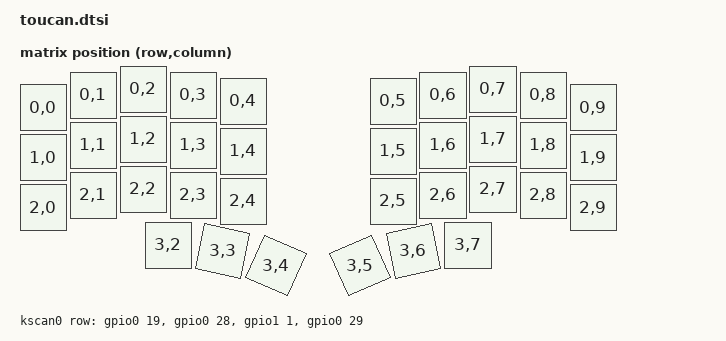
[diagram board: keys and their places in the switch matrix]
#include <input/processors.dtsi>
#include <dt-bindings/zmk/input_transform.h>
#include <dt-bindings/zmk/matrix_transform.h>
#include <physical_layouts.dtsi>

/ {
    chosen {
        zmk,kscan = &kscan0;
        zmk,physical-layout = &default_layout;
    };

    kscan0: kscan_0 {
        compatible = "zmk,kscan-gpio-matrix";
        diode-direction = "col2row";
        wakeup-source;

        row-gpios
            = <&gpio0 19 (GPIO_ACTIVE_HIGH | GPIO_PULL_DOWN)>
            , <&gpio0 28 (GPIO_ACTIVE_HIGH | GPIO_PULL_DOWN)>
            , <&gpio1 1 (GPIO_ACTIVE_HIGH | GPIO_PULL_DOWN)>
            , <&gpio0 29 (GPIO_ACTIVE_HIGH | GPIO_PULL_DOWN)>;
    };

    default_layout: default_layout {
        compatible = "zmk,physical-layout";
        display-name = "Default Layout";
        transform = <&default_transform>;

        keys
            = <&key_physical_attrs 100 100    0   37       0     0     0>
            , <&key_physical_attrs 100 100  100   12       0     0     0>
            , <&key_physical_attrs 100 100  200    0       0     0     0>
            , <&key_physical_attrs 100 100  300   12       0     0     0>
            , <&key_physical_attrs 100 100  400   24       0     0     0>
            , <&key_physical_attrs 100 100  700   24       0     0     0>
            , <&key_physical_attrs 100 100  800   12       0     0     0>
            , <&key_physical_attrs 100 100  900    0       0     0     0>
            , <&key_physical_attrs 100 100 1000   12       0     0     0>
            , <&key_physical_attrs 100 100 1100   37       0     0     0>
            , <&key_physical_attrs 100 100    0  137       0     0     0>
            , <&key_physical_attrs 100 100  100  112       0     0     0>
            , <&key_physical_attrs 100 100  200  100       0     0     0>
            , <&key_physical_attrs 100 100  300  112       0     0     0>
            , <&key_physical_attrs 100 100  400  124       0     0     0>
            , <&key_physical_attrs 100 100  700  124       0     0     0>
            , <&key_physical_attrs 100 100  800  112       0     0     0>
            , <&key_physical_attrs 100 100  900  100       0     0     0>
            , <&key_physical_attrs 100 100 1000  112       0     0     0>
            , <&key_physical_attrs 100 100 1100  137       0     0     0>
            , <&key_physical_attrs 100 100    0  237       0     0     0>
            , <&key_physical_attrs 100 100  100  212       0     0     0>
            , <&key_physical_attrs 100 100  200  200       0     0     0>
            , <&key_physical_attrs 100 100  300  212       0     0     0>
            , <&key_physical_attrs 100 100  400  224       0     0     0>
            , <&key_physical_attrs 100 100  700  224       0     0     0>
            , <&key_physical_attrs 100 100  800  212       0     0     0>
            , <&key_physical_attrs 100 100  900  200       0     0     0>
            , <&key_physical_attrs 100 100 1000  212       0     0     0>
            , <&key_physical_attrs 100 100 1100  237       0     0     0>
            , <&key_physical_attrs 100 100  250  312       0     0     0>
            , <&key_physical_attrs 100 100  350  312    1200   350   412>
            , <&key_physical_attrs 100 100  448  328    2400   448   433>
            , <&key_physical_attrs 100 100  652  328  (-2400)  752   433>
            , <&key_physical_attrs 100 100  750  312  (-1200)  850   412>
            , <&key_physical_attrs 100 100  850  312       0     0     0>;
    };

    default_transform: keymap_transform_0 {
        compatible = "zmk,matrix-transform";
        columns = <10>;
        rows = <4>;
        map = <
            RC(0,0) RC(0,1) RC(0,2) RC(0,3) RC(0,4)  RC(0,5) RC(0,6) RC(0,7) RC(0,8) RC(0,9)
            RC(1,0) RC(1,1) RC(1,2) RC(1,3) RC(1,4)  RC(1,5) RC(1,6) RC(1,7) RC(1,8) RC(1,9)
            RC(2,0) RC(2,1) RC(2,2) RC(2,3) RC(2,4)  RC(2,5) RC(2,6) RC(2,7) RC(2,8) RC(2,9)
                            RC(3,2) RC(3,3) RC(3,4)  RC(3,5) RC(3,6) RC(3,7)
        >;
    };
};

/ {
    split_inputs {
        #address-cells = <1>;
        #size-cells = <0>;

        glidepoint_split: glidepoint_split@0 {
            compatible = "zmk,input-split";
            reg = <0>;
        };
    };

    glidepoint_listener: glidepoint_listener {
        compatible = "zmk,input-listener";
        status = "disabled";
        device = <&glidepoint_split>;
        input-processors = <&zip_xy_scaler 250 100>;
        scroller {
            layers = <1 2>;
            input-processors = <
                &zip_xy_to_scroll_mapper
                &zip_scroll_scaler 1 5
                &zip_scroll_transform INPUT_TRANSFORM_X_INVERT
            >;
        };
    };
};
